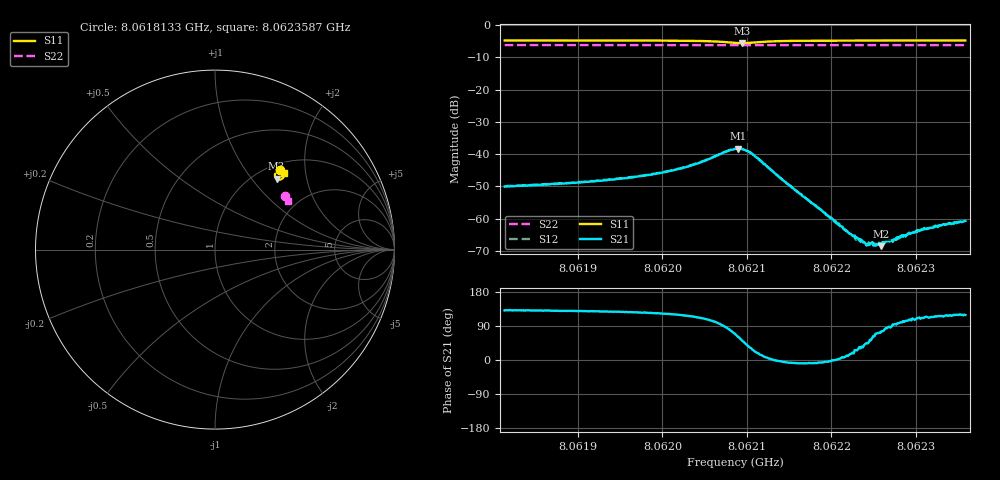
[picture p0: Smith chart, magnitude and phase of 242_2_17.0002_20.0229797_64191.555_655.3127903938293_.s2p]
#  HZ  S  RI  R  50.00
! Rohde & Schwarz Vector Network Analyzer
! Rohde-Schwarz,ZNB20-2Port,1311601062101988,3.16
! Created: UTC 3/20/2024, 11:02:55 PM
! freq[Hz]  re:S11  im:S11  re:S21  im:S21  re:S12  im:S12  re:S22  im:S22
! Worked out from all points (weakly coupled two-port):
!   401 points, 8.0618133 GHz to 8.0623587 GHz, reference 50 ohm
!   highest |S21| = -38.27 dB at 8.0620901 GHz (marker M1); lowest = -68.5 dB at 8.0622591 GHz (marker M2)
!   lowest |S11| = -5.6 dB at 8.0620942 GHz (marker M3), VSWR 3.20, Z = 61.7 + j67.2 ohm
!   |S11| at or under -10 dB: nowhere
!   |S22| runs from -6.3 to -6.2 dB; largest |S21 - S12| = 0.00094
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8.06181329e9  0.3647 0.4457  -0.00206 0.00237  -0.00197 0.00252  0.3887 0.2963
8.06190464e9  0.3716 0.4395  -0.00232 0.00284  -0.00221 0.003  0.3919 0.2917
8.06195646e9  0.3757 0.4349  -0.00256 0.00341  -0.00231 0.00358  0.3937 0.2891
8.061996e9  0.3796 0.4295  -0.00277 0.00422  -0.00254 0.00446  0.3951 0.2868
8.06203417e9  0.3833 0.4199  -0.00286 0.00601  -0.00251 0.00627  0.3963 0.2847
8.06208599e9  0.357 0.3898  0.00432 0.0112  0.00524 0.011  0.3963 0.2814
8.06209008e9  0.3497 0.3913  0.00599 0.0106  0.00662 0.0103  0.3961 0.2814
8.06209417e9  0.3429 0.3954  0.00747 0.00942  0.00806 0.00894  0.396 0.2814
8.06210644e9  0.334 0.4153  0.00889 0.00464  0.00914 0.00411  0.3963 0.2819
8.06214053e9  0.3534 0.4389  0.00413 -0.00025  0.00417 -0.000564  0.3987 0.2811
8.06217734e9  0.3665 0.4385  0.00171 -0.000257  0.00172 -0.000384  0.4004 0.2791
8.06222233e9  0.3743 0.4355  0.000567 0.00016  0.000574 0.000156  0.402 0.2768
8.06223188e9  0.3757 0.4349  0.000421 0.000234  0.000447 0.000189  0.4024 0.2762
8.06224279e9  0.377 0.434  0.000279 0.000268  0.000289 0.000285  0.403 0.2758
8.06225233e9  0.378 0.4335  0.000134 0.000356  0.000184 0.000367  0.4031 0.2751
8.06225915e9  0.3786 0.433  9.27e-05 0.000364  0.000129 0.000376  0.4034 0.2749
8.06226869e9  0.3796 0.4324  1.54e-05 0.000441  0.000112 0.000458  0.4037 0.2742
8.06227551e9  0.3802 0.4319  -3.81e-05 0.000472  5.6e-07 0.000444  0.4039 0.274
8.06228233e9  0.3807 0.4314  -8.66e-05 0.000511  -7.44e-05 0.000561  0.4041 0.2737
8.06230551e9  0.3827 0.43  -0.000209 0.000618  -0.000178 0.000626  0.4048 0.2725
8.06233959e9  0.3853 0.428  -0.000391 0.00074  -0.000364 0.000779  0.406 0.2708
8.06235868e9  0.3868 0.427  -0.000444 0.000808  -0.000444 0.000816  0.4066 0.2697
